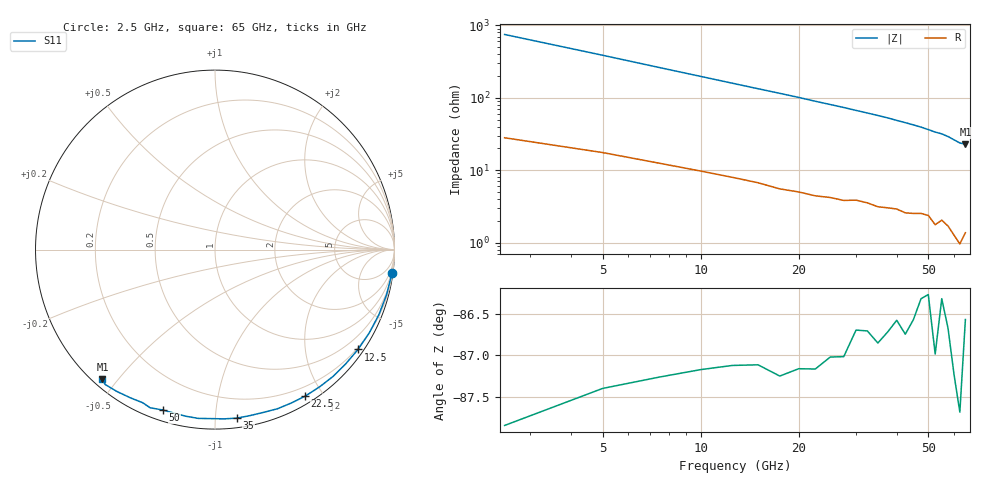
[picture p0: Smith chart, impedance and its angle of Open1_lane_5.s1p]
! File created by SignalIntegrity v1.5.1: Signal and Power Integrity Tools
! https://github.com/Nubis-Communications/SignalIntegrity
# MHz S MA R 50.0
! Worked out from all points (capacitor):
!   26 points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, 2.5 GHz to 65 GHz, reference 50 ohm
!   read as one part to ground: C = 82.6 fF near 2.5 GHz
!   lowest |Z| = 22.8 ohm at 65 GHz (marker M1)
!   S11 on the Smith chart (normalised r, x): 2.5 GHz: 1, -15; 12.5 GHz: 0.16, -3.17; 22.5 GHz: 0.09, -1.79; 35 GHz: 0.06, -1.14; 50 GHz: 0.05, -0.73; 65 GHz: 0.03, -0.46
2500  0.995 -7.7
5000  0.9885 -14.7
7500  0.9824 -21.7
10000  0.9768 -28.4
12500  0.9716 -34.9
15000  0.9674 -41.1
17500  0.9655 -47.0
20000  0.9614 -52.6
22500  0.9587 -58.4
25000  0.9545 -63.6
27500  0.9527 -68.6
30000  0.9461 -73.6
32500  0.9452 -78.2
35000  0.9469 -82.6
37500  0.9444 -86.9
40000  0.9419 -91.6
42500  0.945 -95.7
45000  0.9426 -99.7
47500  0.9393 -103.7
50000  0.9398 -108.0
52500  0.9524 -112.3
55000  0.9434 -115.3
57500  0.9507 -119.6
60000  0.9611 -124.7
62500  0.9692 -129.2
65000  0.9557 -131.0
